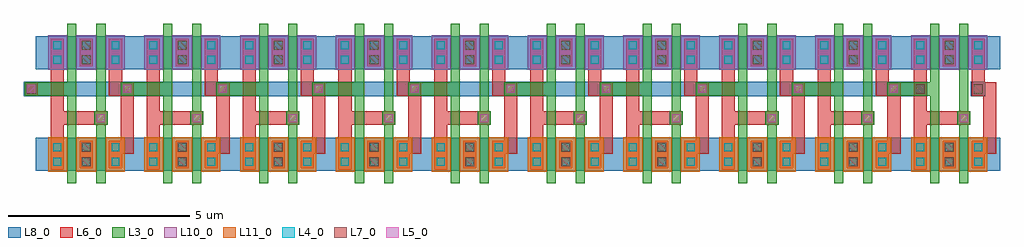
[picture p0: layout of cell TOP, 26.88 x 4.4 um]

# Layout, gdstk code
import gdstk
lib = gdstk.Library(unit=1e-6, precision=1e-09)
def R(c, l, rs):  # rectangles x0, y0, x1, y1
    for r in rs: c.add(gdstk.rectangle(r[:2], r[2:], *l))
def P(c, l, *ps):  # polygons
    for p in ps: c.add(gdstk.Polygon(p, *l))
L3_0 = (3, 0)
L4_0 = (4, 0)
L5_0 = (5, 0)
L6_0 = (6, 0)
L7_0 = (7, 0)
L8_0 = (8, 0)
L10_0 = (10, 0)
L11_0 = (11, 0)

trans = lib.new_cell('TRANS')

device_d_nmos = lib.new_cell('DEVICE_D$NMOS')
R(device_d_nmos, L3_0, [(-0.125,-0.475,0.125,0.475)])

device_d_pmos = lib.new_cell('DEVICE_D$PMOS')
R(device_d_pmos, L3_0, [(-0.125,-0.475,0.125,0.475)])

net_in = lib.new_cell('NET_IN')
R(net_in, L3_0, [(-0.525,-0.8,-0.275,0.8), (-0.525,-0.25,-0.275,2.25), (-1.7,1.62,-0.4,1.98), (-0.525,2,-0.275,3.6)])
R(net_in, L5_0, [(-1.63,1.69,-1.41,1.91)])
net_in.add(gdstk.Reference(device_d_nmos, (-0.4,0)))
net_in.add(gdstk.Reference(device_d_pmos, (-0.4,2.8)))

device_d_pmos_1 = lib.new_cell('DEVICE_D$PMOS$1')
R(device_d_pmos_1, L3_0, [(-0.125,-0.475,0.125,0.475)])

device_d_nmos_1 = lib.new_cell('DEVICE_D$NMOS$1')
R(device_d_nmos_1, L3_0, [(-0.125,-0.475,0.125,0.475)])

device_d_pmos_2 = lib.new_cell('DEVICE_D$PMOS$2')
R(device_d_pmos_2, L10_0, [(-0.65,-0.475,-0.125,0.475)])

device_d_nmos_2 = lib.new_cell('DEVICE_D$NMOS$2')
R(device_d_nmos_2, L11_0, [(-0.65,-0.475,-0.125,0.475)])

net__2 = lib.new_cell('NET_$2')
R(net__2, L3_0, [(0.275,-0.8,0.525,0.8), (0.275,-0.25,0.525,2.25), (0.22,0.82,0.58,1.18), (0.275,2,0.525,3.6)])
R(net__2, L4_0, [(-0.91,-0.31,-0.69,-0.09), (-0.91,0.09,-0.69,0.31), (-0.91,2.49,-0.69,2.71), (-0.91,2.89,-0.69,3.11)])
R(net__2, L5_0, [(0.29,0.89,0.51,1.11)])
R(net__2, L6_0, [(-0.98,-0.42,-0.62,2.42), (-0.98,-0.38,-0.62,0.38), (-0.8,0.82,0.58,1.18), (-0.98,2.42,-0.62,3.18)])
R(net__2, L10_0, [(-1.05,2.325,-0.525,3.275)])
R(net__2, L11_0, [(-1.05,-0.475,-0.525,0.475)])
net__2.add(gdstk.Reference(device_d_pmos_1, (0.4,2.8)))
net__2.add(gdstk.Reference(device_d_nmos_1, (0.4,0)))
net__2.add(gdstk.Reference(device_d_pmos_2, (-0.4,2.8)))
net__2.add(gdstk.Reference(device_d_nmos_2, (-0.4,0)))

device_d_pmos_1_1 = lib.new_cell('DEVICE_D$PMOS$1$1')
R(device_d_pmos_1_1, L10_0, [(0.125,-0.475,0.65,0.475)])

device_d_nmos_1_1 = lib.new_cell('DEVICE_D$NMOS$1$1')
R(device_d_nmos_1_1, L11_0, [(0.125,-0.475,0.65,0.475)])

net_out = lib.new_cell('NET_OUT')
R(net_out, L4_0, [(0.69,-0.31,0.91,-0.09), (0.69,0.09,0.91,0.31), (0.69,2.49,0.91,2.71), (0.69,2.89,0.91,3.11)])
R(net_out, L6_0, [(0.62,-0.38,0.98,0.38), (0.62,2.42,0.98,3.18)])
P(net_out, L6_0, [(0.8,0.02),(0.8,0.38),(0.94,0.38),(0.94,1.62),(0.62,1.62),(0.62,2.42),(0.98,2.42),(0.98,1.98),(1.3,1.98),(1.3,0.02)])
R(net_out, L10_0, [(0.525,2.325,1.05,3.275)])
R(net_out, L11_0, [(0.525,-0.475,1.05,0.475)])
net_out.add(gdstk.Reference(device_d_pmos_1_1, (0.4,2.8)))
net_out.add(gdstk.Reference(device_d_nmos_1_1, (0.4,0)))

device_d_nmos_3 = lib.new_cell('DEVICE_D$NMOS$3')
R(device_d_nmos_3, L11_0, [(0.125,-0.475,0.675,0.475)])

device_d_nmos_1_2 = lib.new_cell('DEVICE_D$NMOS$1$2')
R(device_d_nmos_1_2, L11_0, [(-0.675,-0.475,-0.125,0.475)])

net__4 = lib.new_cell('NET_$4')
R(net__4, L4_0, [(-0.11,-0.31,0.11,-0.09), (-0.11,-0.31,0.11,-0.09), (-0.11,0.09,0.11,0.31), (-0.11,0.09,0.11,0.31)])
R(net__4, L6_0, [(-0.18,-0.38,0.18,0.38), (-0.18,-0.38,0.18,0.38)])
R(net__4, L7_0, [(-0.125,-0.325,0.125,-0.075), (-0.125,0.075,0.125,0.325)])
R(net__4, L8_0, [(-1.4,-0.45,1.4,0.45)])
R(net__4, L11_0, [(-0.275,-0.475,0.275,0.475)])
net__4.add(gdstk.Reference(device_d_nmos_3, (-0.4,0)))
net__4.add(gdstk.Reference(device_d_nmos_1_2, (0.4,0)))

device_d_pmos_3 = lib.new_cell('DEVICE_D$PMOS$3')
R(device_d_pmos_3, L10_0, [(0.125,-0.475,0.675,0.475)])

device_d_pmos_1_2 = lib.new_cell('DEVICE_D$PMOS$1$2')
R(device_d_pmos_1_2, L10_0, [(-0.675,-0.475,-0.125,0.475)])

net__5 = lib.new_cell('NET_$5')
R(net__5, L4_0, [(-0.11,2.49,0.11,2.71), (-0.11,2.49,0.11,2.71), (-0.11,2.89,0.11,3.11), (-0.11,2.89,0.11,3.11)])
R(net__5, L6_0, [(-0.18,2.42,0.18,3.18), (-0.18,2.42,0.18,3.18)])
R(net__5, L7_0, [(-0.125,2.475,0.125,2.725), (-0.125,2.875,0.125,3.125)])
R(net__5, L8_0, [(-1.4,2.35,1.4,3.25)])
R(net__5, L10_0, [(-0.275,2.325,0.275,3.275)])
net__5.add(gdstk.Reference(device_d_pmos_3, (-0.4,2.8)))
net__5.add(gdstk.Reference(device_d_pmos_1_2, (0.4,2.8)))

d_pmos = lib.new_cell('D$PMOS')

d_pmos_1 = lib.new_cell('D$PMOS$1')

d_nmos = lib.new_cell('D$NMOS')

d_nmos_1 = lib.new_cell('D$NMOS$1')

inv2 = lib.new_cell('INV2')
inv2.add(gdstk.Reference(trans, (-0.4,0)))
inv2.add(gdstk.Reference(trans, (-0.4,2.8)))
inv2.add(gdstk.Reference(trans, (0.4,0), x_reflection=True))
inv2.add(gdstk.Reference(trans, (0.4,2.8), x_reflection=True))
inv2.add(gdstk.Reference(net_in, (0,0)))
inv2.add(gdstk.Reference(net__2, (0,0)))
inv2.add(gdstk.Reference(net_out, (0,0)))
inv2.add(gdstk.Reference(net__4, (0,0)))
inv2.add(gdstk.Reference(net__5, (0,0)))
inv2.add(gdstk.Reference(d_pmos, (-0.4,2.8)))
inv2.add(gdstk.Reference(d_pmos_1, (0.4,2.8)))
inv2.add(gdstk.Reference(d_nmos, (-0.4,0)))
inv2.add(gdstk.Reference(d_nmos_1, (0.4,0)))

net_fb = lib.new_cell('NET_FB')
R(net_fb, L6_0, [(-1.7,1.62,-1.34,1.98)])
R(net_fb, L7_0, [(-1.645,1.675,-1.395,1.925), (22.835,1.675,23.085,1.925)])
R(net_fb, L8_0, [(-1.72,1.6,23.16,2)])

net_osc = lib.new_cell('NET_OSC')
R(net_osc, L7_0, [(24.435,1.675,24.685,1.925)])
R(net_osc, L8_0, [(24.36,1.6,24.76,2)])

top = lib.new_cell('TOP')
top.add(gdstk.Reference(inv2, (0,0)))
top.add(gdstk.Reference(inv2, (2.64,0)))
top.add(gdstk.Reference(inv2, (5.28,0)))
top.add(gdstk.Reference(inv2, (7.92,0)))
top.add(gdstk.Reference(inv2, (10.56,0)))
top.add(gdstk.Reference(inv2, (13.2,0)))
top.add(gdstk.Reference(inv2, (15.84,0)))
top.add(gdstk.Reference(inv2, (18.48,0)))
top.add(gdstk.Reference(inv2, (21.12,0)))
top.add(gdstk.Reference(inv2, (23.76,0)))
top.add(gdstk.Reference(net_fb, (0,0)))
top.add(gdstk.Reference(net_osc, (0,0)))

lib.write_gds('TOP.gds')
